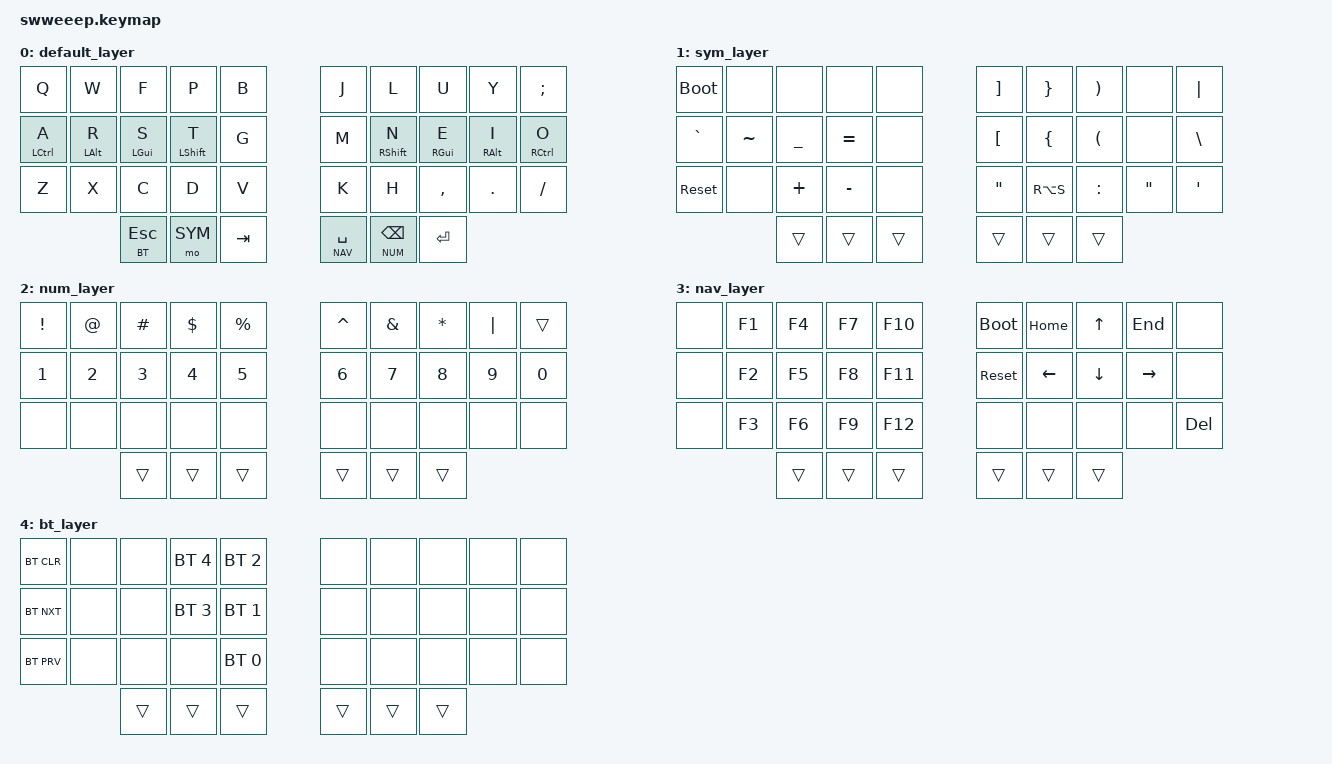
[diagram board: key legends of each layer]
#include <behaviors.dtsi>
#include <dt-bindings/zmk/keys.h>
#include <dt-bindings/zmk/bt.h>
#include <dt-bindings/zmk/ext_power.h>
#include <dt-bindings/zmk/outputs.h>

#define ALPHA 0
#define SYM 1
#define NUM 2
#define NAV 3
#define BT 4

&caps_word {
    continue-list = <UNDERSCORE MINUS BACKSPACE DELETE>;
};

/ {

    behaviors {
        hm: homerow_mods {
            compatible = "zmk,behavior-hold-tap";
            #binding-cells = <2>;
            tapping-term-ms = <200>;
            flavor = "tap-preferred";
            bindings = <&kp>, <&kp>;
        };

        // Layer-tap that supports "tap, then tap-and-hold" to repeat the tapped
        // key (e.g. hold Backspace to delete multiple characters), similar to
        // QMK's "double tap to hold" behavior. Achieved via quick-tap-ms: if the
        // key is tapped again within quick-tap-ms and held, it repeats the tap
        // binding instead of activating the hold (layer) binding.
        lr: layer_tap_repeat {
            compatible = "zmk,behavior-hold-tap";
            #binding-cells = <2>;
            tapping-term-ms = <200>;
            quick-tap-ms = <175>;
            flavor = "tap-preferred";
            bindings = <&mo>, <&kp>;
        };
    };

    combos {
        compatible = "zmk,combos";
        combo_zoom_in {
            timeout-ms = <50>;
            key-positions = <0 1>;
            bindings = <&kp LG(EQUAL)>;
        };
        combo_zoom_out {
            timeout-ms = <50>;
            key-positions = <1 2>;
            bindings = <&kp LG(MINUS)>;
        };
        combo_caps_word {
            timeout-ms = <50>;
            key-positions = <13 16>;
            bindings = <&caps_word>;
        };
    };

    keymap {
        compatible = "zmk,keymap";

    default_layer {
            bindings = <
    &kp Q        &kp W       &kp F       &kp P         &kp B         &kp J          &kp L         &kp U       &kp Y       &kp SEMI
    &hm LCTL A   &hm LALT R  &hm LGUI S  &hm LSHIFT T  &kp G         &kp M          &hm RSHIFT N  &hm RGUI E  &hm RALT I  &hm RCTL O
    &kp Z        &kp X       &kp C       &kp D         &kp V         &kp K          &kp H         &kp COMMA   &kp DOT     &kp FSLH
                             &lt BT ESC  &mo SYM       &kp TAB       &lt NAV SPACE  &lr NUM BSPC  &kp ENTER
            >;
        };

    sym_layer {
            bindings = <
    &bootloader  &none       &none       &none         &none         &kp RBKT       &kp RBRC      &kp RPAR    &none       &kp PIPE
    &kp GRAVE    &kp TILDE   &kp UNDER   &kp EQUAL     &none         &kp LBKT       &kp LBRC      &kp LPAR    &none       &kp BSLH
    &sys_reset   &none       &kp PLUS    &kp MINUS     &none         &kp DQT        &kp RA(S)     &kp COLON   &kp DQT     &kp SQT
                             &trans      &trans        &trans        &trans         &trans        &trans
            >;
        };

    num_layer {
            bindings = <
    &kp EXCL     &kp AT      &kp HASH    &kp DOLLAR    &kp PERCENT   &kp CARET      &kp AMPS      &kp STAR    &kp PIPE    &trans
    &kp N1       &kp N2      &kp N3      &kp N4        &kp N5        &kp N6         &kp N7        &kp N8      &kp N9      &kp N0
    &none        &none       &none       &none         &none         &none          &none         &none       &none       &none
                             &trans      &trans        &trans        &trans         &trans        &trans
            >;
        };

    nav_layer {
            bindings = <
    &none        &kp F1      &kp F4      &kp F7        &kp F10       &bootloader    &kp HOME      &kp UP      &kp END     &none
    &none        &kp F2      &kp F5      &kp F8        &kp F11       &sys_reset     &kp LEFT      &kp DOWN    &kp RIGHT   &none
    &none        &kp F3      &kp F6      &kp F9        &kp F12       &none          &none         &none       &none       &kp DEL
                             &trans      &trans        &trans        &trans         &trans        &trans
            >;
        };

    bt_layer {
            bindings = <
    &bt BT_CLR   &none       &none       &bt BT_SEL 4  &bt BT_SEL 2  &none          &none         &none       &none       &none
    &bt BT_NXT   &none       &none       &bt BT_SEL 3  &bt BT_SEL 1  &none          &none         &none       &none       &none
    &bt BT_PRV   &none       &none       &none         &bt BT_SEL 0  &none          &none         &none       &none       &none
                             &trans      &trans        &trans        &trans         &trans        &trans
            >;
        };
    };
};
